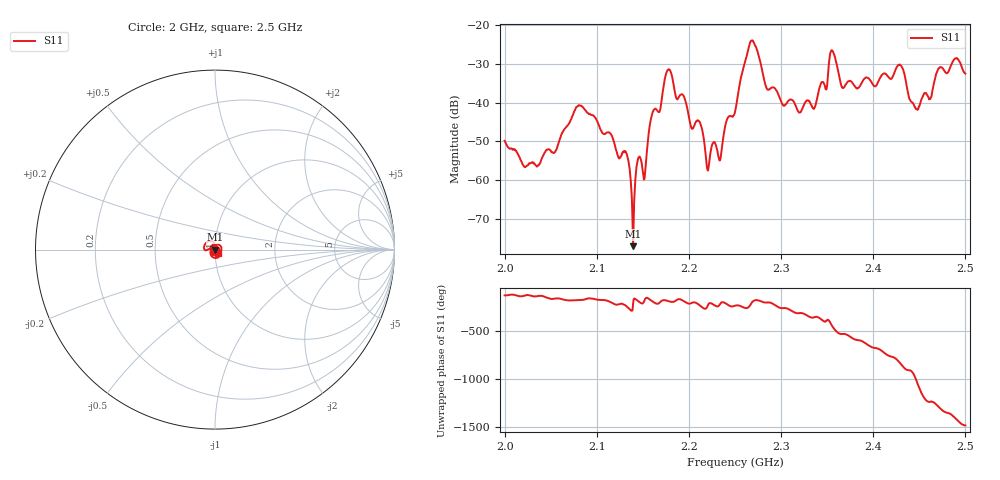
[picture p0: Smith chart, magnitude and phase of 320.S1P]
! C:\Users\rflab\Downloads\dp2_kdzw\320.S1P
! Touchstone 1.1 file saved by VNA.EXE V1.65 (www.ke5fx.com/gpib/readme.htm)
! 12/12/2024 7:11:31 PM
!  Source: HEWLETT PACKARD,8753D,0,6.14
!  Min freq: 2.000000E+009 Hz
!  Max freq: 2.500000E+009 Hz
!  Points: 801
!  Params: S21
# GHZ S MA R 50
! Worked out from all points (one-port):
!   801 points, 2 GHz to 2.5 GHz, reference 50 ohm
!   lowest |S11| = -77.0 dB at 2.139 GHz (marker M1), VSWR 1.00, Z = 50 + j0.00889 ohm
!   |S11| at or under -10 dB: start of sweep to end of sweep
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2  0.003215 -126.1
2.035625  0.001512 -134.2
2.0625  0.004094 -165.9
2.0825  0.009137 -175.2
2.125  0.001962 143.2
2.133125  0.002043 112.7
2.139375  0.000141 140.9
2.145  0.001919 172.4
2.151875  0.00106 -175.4
2.159375  0.006578 178.9
2.17625  0.02548 178.2
2.1875  0.01098 -169.5
2.211875  0.005595 127.7
2.220625  0.001331 130.7
2.23375  0.001801 142.2
2.25  0.007588 126.4
2.26875  0.06285 165.1
2.285  0.01487 159.8
2.3125  0.0107 66.4
2.33625  0.00857 6.6
2.355625  0.04669 -89.1
2.36625  0.01555 -169.9
2.375  0.01902 161.9
2.42875  0.03098 -108.5
2.4375  0.01363 172.7
2.4475  0.008195 45.6
2.471875  0.02812 140.6
2.5  0.02369 -44.8
